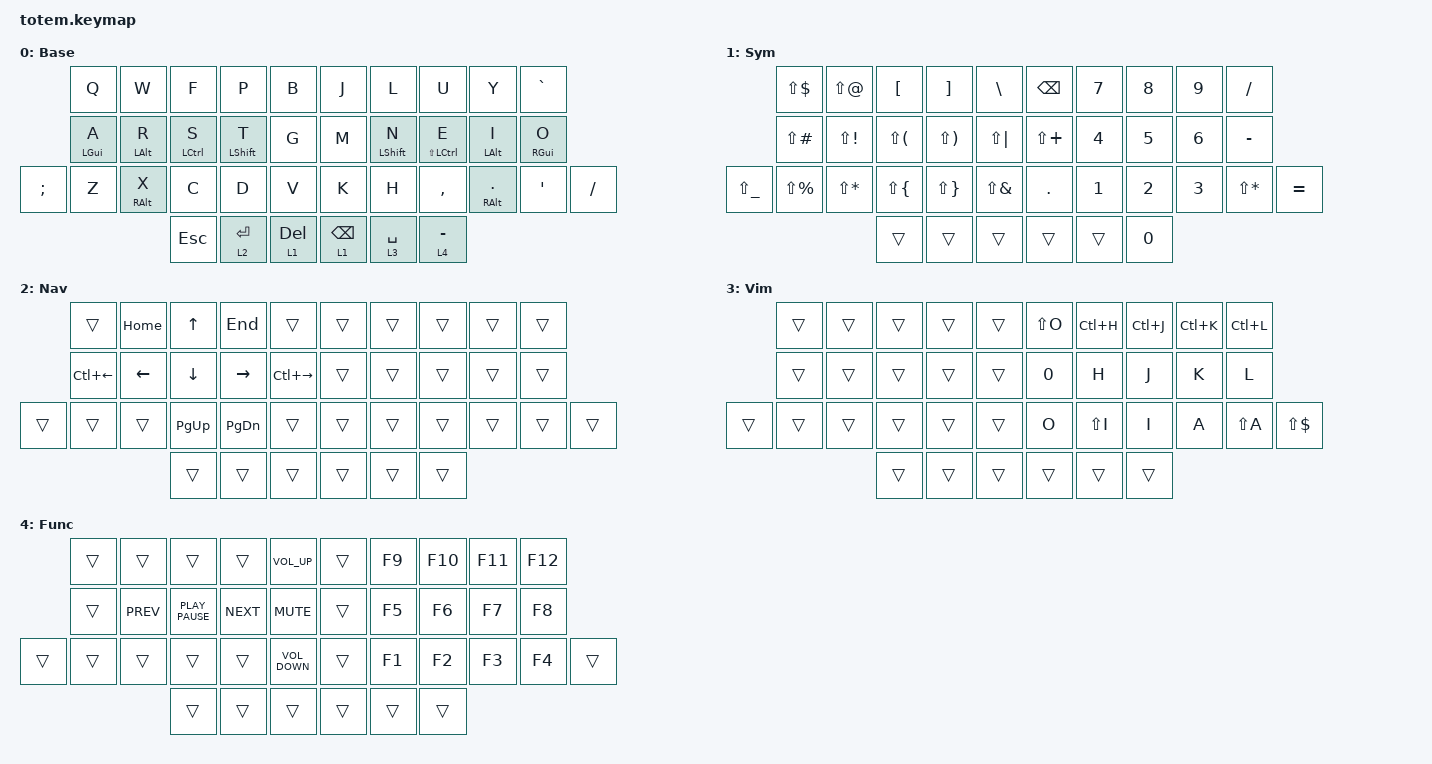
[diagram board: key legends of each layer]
//
//                                                        ▀▀▀▀▀     ▀▀▀▀▀          ▀▀█▀▀
//                                                        ▄▀▀▀▄  ▄  ▄▀▀▀▄  ▄  ▄▀▀▀▄  █  ▄▀▀▀▄
//                                                        █   █  █  █   █  █  █   █  █  █   █
//                                                         ▀▀▀   █   ▀▀▀   █   ▀▀▀   ▀   ▀▀▀
//                                                               █      ▄▄▄█▄▄▄    █   █  
//                                                               ▀      █  █  █     █▄█
//                                                             ▀▀▀▀▀    █  █  █      ▀
//                                                                      ▀  ▀  ▀
//
// ▄▄▄▄▄▄▄▄▄▄▄▄▄▄▄▄▄▄▄▄▄▄▄▄▄▄▄▄▄▄▄▄▄▄▄▄▄▄▄▄▄▄▄▄▄▄▄▄▄▄▄▄▄▄▄▄▄▄▄▄▄▄▄▄▄▄▄▄▄▄▄▄▄▄▄▄▄▄▄▄▄▄▄▄▄▄▄▄▄▄▄▄▄▄▄▄▄▄▄▄▄▄▄▄▄▄▄▄▄▄▄▄▄▄▄▄▄▄▄▄▄▄▄▄▄▄▄▄▄▄▄▄▄▄▄▄▄▄▄▄▄▄▄▄▄▄▄▄▄

#include <behaviors.dtsi>
#include <dt-bindings/zmk/keys.h>

#define Base        0
#define Nav         1
#define Sym         2
#define Fun         3
#define Game        4
#define Gameplus    5

&mt {
    quick-tap-ms = <100>;
    global-quick-tap;
    flavor = "tap-preferred";
    tapping-term-ms = <170>;
};

&lt {
    tapping-term-ms = <180>;
    flavor = "tap-preferred";
    quick-tap-ms = <140>;
};

/ {
    behaviors {
        hm: homerow_mods {
            compatible = "zmk,behavior-hold-tap";
            label = "HOMEROW_MODS";
            #binding-cells = <2>;
            flavor = "tap-preferred";
            tapping-term-ms = <200>;
            quick-tap-ms = <125>;
            global-quick-tap;
            bindings = <&kp>, <&kp>;
        };
    };

    combos {
        compatible = "zmk,combos";

        TabRight {
            bindings = <&kp TAB>;
            key-positions = <6 7 5>;
        };

        TabLeft {
            bindings = <&kp TAB>;
            key-positions = <3 2>;
        };

        CirconLeft {
            bindings = <&kp CARET>;
            key-positions = <23 22>;
        };

        CirconRight {
            bindings = <&kp CARET>;
            key-positions = <28 29>;
        };

        RightColon {
            bindings = <&kp COLON>;
            key-positions = <5 6>;
        };

        LeftSlash {
            bindings = <&kp SLASH>;
            key-positions = <3 4>;
        };
    };

    keymap {
        compatible = "zmk,keymap";

        Base {
            display-name = "Base";
            bindings = <
               &kp Q       &kp W            &kp F        &kp P         &kp B        &kp J            &kp L             &kp U                   &kp Y              &kp GRAVE
               &hm LGUI A  &hm LALT R       &hm LCTRL S  &hm LSHIFT T  &kp G        &kp M            &hm LEFT_SHIFT N  &hm LS(LEFT_CONTROL) E  &hm LEFT_ALT I     &hm RGUI O
&kp SEMICOLON  &kp Z       &mt RIGHT_ALT X  &kp C        &kp D         &kp V        &kp K            &kp H             &kp COMMA               &mt RIGHT_ALT DOT  &kp SQT     &kp SLASH
                                            &kp ESCAPE   &lt 2 ENTER   &lt 1 DEL    &lt 1 BACKSPACE  &lt 3 SPACE       &lt 4 MINUS
            >;
        };

        Symbols {
            bindings = <
               &kp LS(DOLLAR)  &kp LS(AT)           &kp LBKT      &kp RBKT      &kp BSLH        &kp BSPC      &kp N7  &kp N8  &kp N9  &kp FSLH
               &kp LS(POUND)   &kp LS(EXCLAMATION)  &kp LS(LPAR)  &kp LS(RPAR)  &kp LS(PIPE)    &kp LS(PLUS)  &kp N4  &kp N5  &kp N6  &kp MINUS
&kp LS(UNDER)  &kp LS(PRCNT)   &kp LS(STAR)         &kp LS(LBRC)  &kp LS(RBRC)  &kp LS(AMPS)    &kp DOT       &kp N1  &kp N2  &kp N3  &kp LS(STAR)  &kp EQUAL
                                                    &trans        &trans        &trans          &trans        &trans  &kp N0
            >;

            label = "Sym";
        };

        Navigation {
            bindings = <
        &trans        &kp HOME  &kp UP     &kp END    &trans           &trans  &trans  &trans  &trans  &trans
        &kp LC(LEFT)  &kp LEFT  &kp DOWN   &kp RIGHT  &kp LC(RIGHT)    &trans  &trans  &trans  &trans  &trans
&trans  &trans        &trans    &kp PG_UP  &kp PG_DN  &trans           &trans  &trans  &trans  &trans  &trans  &trans
                                &trans     &trans     &trans           &trans  &trans  &trans
            >;

            label = "Nav";
        };

        Vim {
            bindings = <
        &trans  &trans  &trans  &trans  &trans    &kp LS(O)  &kp LC(H)  &kp LC(J)  &kp LC(K)  &kp LC(L)
        &trans  &trans  &trans  &trans  &trans    &kp N0     &kp H      &kp J      &kp K      &kp L
&trans  &trans  &trans  &trans  &trans  &trans    &kp O      &kp LS(I)  &kp I      &kp A      &kp LS(A)  &kp LS(DLLR)
                        &trans  &trans  &trans    &trans     &trans     &trans
            >;

            label = "Vim";
        };

        Functions {
            bindings = <
        &trans  &trans      &trans            &trans      &kp C_VOLUME_UP      &trans  &kp F9  &kp F10  &kp F11  &kp F12
        &trans  &kp K_PREV  &kp K_PLAY_PAUSE  &kp K_NEXT  &kp K_MUTE           &trans  &kp F5  &kp F6   &kp F7   &kp F8
&trans  &trans  &trans      &trans            &trans      &kp C_VOLUME_DOWN    &trans  &kp F1  &kp F2   &kp F3   &kp F4   &trans
                            &trans            &trans      &trans               &trans  &trans  &trans
            >;

            label = "Func";
        };
    };
};
